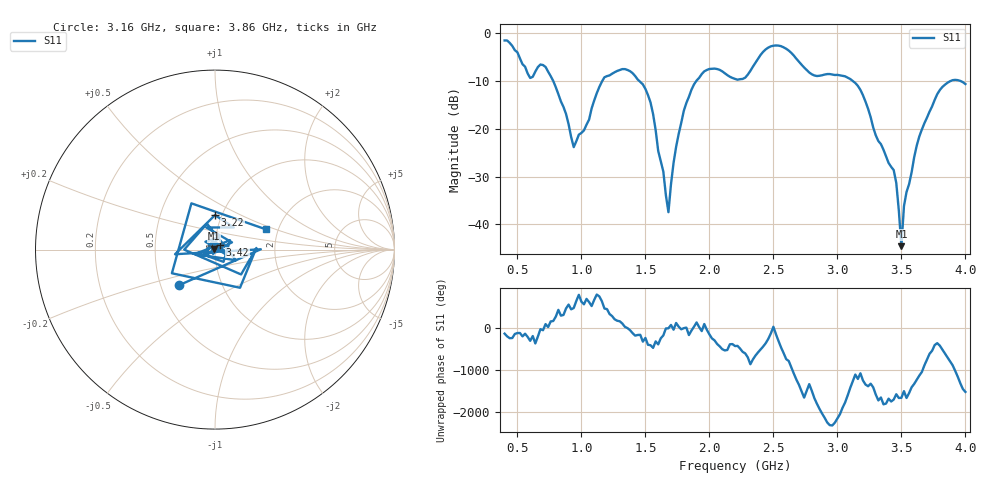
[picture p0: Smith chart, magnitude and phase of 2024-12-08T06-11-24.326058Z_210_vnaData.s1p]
!Created with skrf (http://scikit-rf.org).
# Hz S RI R 50.0
!freq ReS11 ImS11
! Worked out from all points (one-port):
!   181 points, 400 MHz to 4 GHz, reference 50 ohm
!   lowest |S11| = -44.6 dB at 3.5 GHz (marker M1), VSWR 1.01, Z = 49.6 + j0.43 ohm
!   |S11| at or under -10 dB: 780.3 MHz to 1.163 GHz (382.5 MHz wide, 39.4 % of centre); 1.453 GHz to 1.897 GHz (444.4 MHz wide, 26.5 % of centre); 3.121 GHz to 3.884 GHz (762.5 MHz wide, 21.8 % of centre) (the widest 3 of 4)
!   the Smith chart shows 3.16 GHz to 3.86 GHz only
!   S11 on the Smith chart (normalised r, x): 3.16 GHz: 0.62, -0.27; 3.22 GHz: 0.93, +0.37; 3.42 GHz: 1.06, +0.06; 3.86 GHz: 1.72, +0.43
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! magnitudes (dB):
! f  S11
! 400 MHz  -1.5
! 600 MHz  -9.4
! 720 MHz  -7.1
! 860 MHz  -15.4
! 940 MHz  -23.8
! 1.18 GHz  -9.2
! 1.3 GHz  -7.7
! 1.4 GHz  -8.4
! 1.54 GHz  -14.5
! 1.68 GHz  -37.5
! 1.76 GHz  -21.1
! 1.86 GHz  -11.8
! 1.96 GHz  -8.0
! 2.2 GHz  -9.6
! 2.48 GHz  -2.7
! 2.66 GHz  -4.7
! 2.82 GHz  -8.8
! 3.1 GHz  -9.6
! 3.16 GHz  -11.0
! 3.22 GHz  -14.3
! 3.42 GHz  -28.0
! 3.46 GHz  -31.3
! 3.5 GHz  -44.6
! 3.52 GHz  -36.2
! 3.56 GHz  -31.6
! 3.66 GHz  -20.1
! 3.86 GHz  -10.4
! 4 GHz  -10.6
